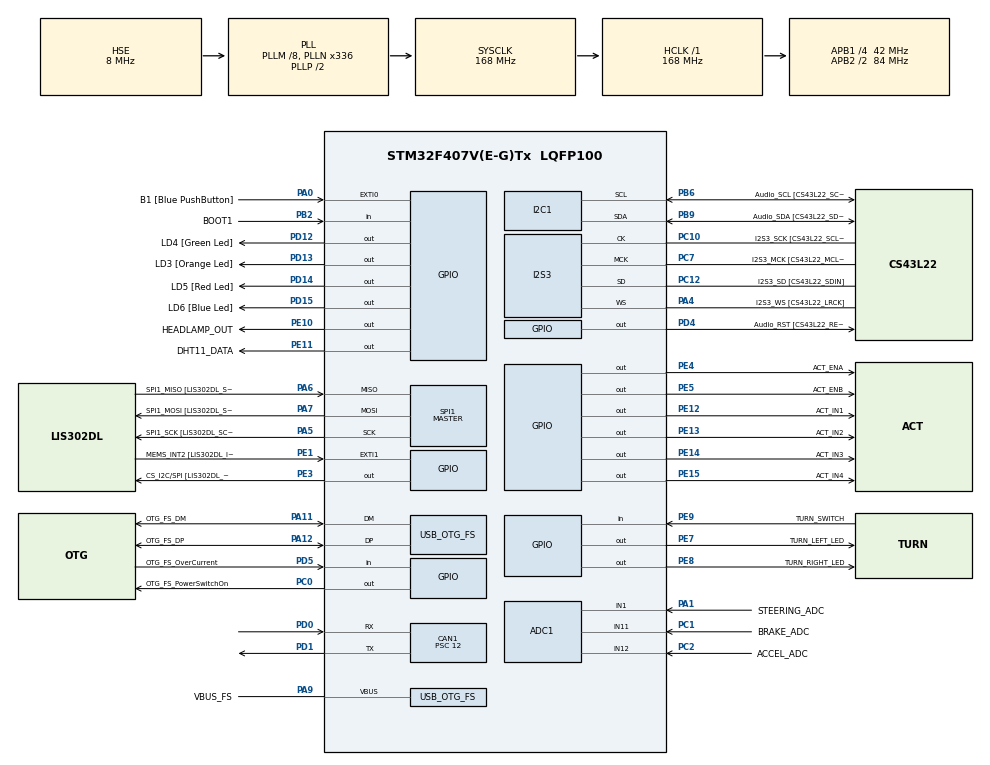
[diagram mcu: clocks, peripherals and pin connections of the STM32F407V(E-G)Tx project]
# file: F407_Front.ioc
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ADC1.Channel-0\#ChannelRegularConversion=ADC_CHANNEL_1
ADC1.Channel-1\#ChannelRegularConversion=ADC_CHANNEL_11
ADC1.Channel-2\#ChannelRegularConversion=ADC_CHANNEL_12
ADC1.ContinuousConvMode=ENABLE
ADC1.DMAContinuousRequests=ENABLE
ADC1.NbrOfConversion=3
ADC1.NbrOfConversionFlag=1
ADC1.Rank-0\#ChannelRegularConversion=1
ADC1.Rank-1\#ChannelRegularConversion=2
ADC1.Rank-2\#ChannelRegularConversion=3
ADC1.SamplingTime-0\#ChannelRegularConversion=ADC_SAMPLETIME_84CYCLES
ADC1.SamplingTime-1\#ChannelRegularConversion=ADC_SAMPLETIME_84CYCLES
ADC1.SamplingTime-2\#ChannelRegularConversion=ADC_SAMPLETIME_84CYCLES
ADC1.ScanConvMode=ENABLE
ADC1.master=1
CAN1.ABOM=ENABLE
CAN1.BS1=CAN_BS1_11TQ
CAN1.BS2=CAN_BS2_2TQ
CAN1.CalculateBaudRate=250000
CAN1.CalculateTimeBit=4000
CAN1.CalculateTimeQuantum=285.7142857142857
CAN1.NART=ENABLE
CAN1.Prescaler=12
Dma.ADC1.0.Direction=DMA_PERIPH_TO_MEMORY
Dma.ADC1.0.FIFOMode=DMA_FIFOMODE_DISABLE
Dma.ADC1.0.Instance=DMA2_Stream0
Dma.ADC1.0.MemDataAlignment=DMA_MDATAALIGN_HALFWORD
Dma.ADC1.0.MemInc=DMA_MINC_ENABLE
Dma.ADC1.0.Mode=DMA_CIRCULAR
Dma.ADC1.0.PeriphDataAlignment=DMA_PDATAALIGN_HALFWORD
Dma.ADC1.0.PeriphInc=DMA_PINC_DISABLE
Dma.ADC1.0.Priority=DMA_PRIORITY_MEDIUM
Dma.Request0=ADC1
I2S3.AudioFreq-Half_Duplex_Master=I2S_AUDIOFREQ_96K
I2S3.ErrorAudioFreq=-2.34 %
I2S3.ErrorAudioFreq-Half_Duplex_Master=0.8 %
I2S3.FullDuplexMode=I2S_FULLDUPLEXMODE_DISABLE
I2S3.Instance=SPI$Index
I2S3.RealAudioFreq=93.75 KHz
I2S3.RealAudioFreq-Half_Duplex_Master=96.774 KHz
I2S3.VirtualMode=I2S_MODE_MASTER
Mcu.Family=STM32F4
Mcu.Name=STM32F407V(E-G)Tx
Mcu.Package=LQFP100
NVIC.CAN1_RX0_IRQn=true\:0\:0\:false\:false\:true\:true\:true\:true
NVIC.CAN1_SCE_IRQn=true\:0\:0\:false\:false\:true\:true\:true\:true
NVIC.DMA2_Stream0_IRQn=true\:0\:0\:false\:false\:true\:false\:true\:true
NVIC.OTG_FS_IRQn=true\:0\:0\:false\:false\:true\:true\:true\:true
NVIC.PriorityGroup=NVIC_PRIORITYGROUP_0
NVIC.TIM6_DAC_IRQn=true\:0\:0\:false\:false\:true\:true\:true\:true
PA0-WKUP.GPIO_Label=B1 [Blue PushButton]
PA0-WKUP.GPIO_ModeDefaultEXTI=GPIO_MODE_EVT_RISING
PA0-WKUP.GPIO_PuPd=GPIO_NOPULL
PA0-WKUP.Signal=GPXTI0
PA1.GPIO_Label=STEERING_ADC
PA1.Signal=ADCx_IN1
PA10.GPIO_Label=OTG_FS_ID
PA10.GPIO_Mode=GPIO_MODE_AF_PP
PA10.GPIO_PuPd=GPIO_NOPULL
PA10.GPIO_Speed=GPIO_SPEED_FREQ_LOW
PA10.Signal=USB_OTG_FS_ID
PA11.GPIO_Label=OTG_FS_DM
PA11.GPIO_Mode=GPIO_MODE_AF_PP
PA11.GPIO_PuPd=GPIO_NOPULL
PA11.GPIO_Speed=GPIO_SPEED_FREQ_LOW
PA11.Mode=Host_Only
PA11.Signal=USB_OTG_FS_DM
PA12.GPIO_Label=OTG_FS_DP
PA12.GPIO_Mode=GPIO_MODE_AF_PP
PA12.GPIO_PuPd=GPIO_NOPULL
PA12.GPIO_Speed=GPIO_SPEED_FREQ_LOW
PA12.Mode=Host_Only
PA12.Signal=USB_OTG_FS_DP
PA13.GPIO_Label=SWDIO
PA13.Mode=Serial_Wire
PA13.Signal=SYS_JTMS-SWDIO
PA14.GPIO_Label=SWCLK
PA14.Mode=Serial_Wire
PA14.Signal=SYS_JTCK-SWCLK
PA4.GPIO_Label=I2S3_WS [CS43L22_LRCK]
PA4.GPIO_Mode=GPIO_MODE_AF_PP
PA4.GPIO_PuPd=GPIO_NOPULL
PA4.GPIO_Speed=GPIO_SPEED_FREQ_LOW
PA4.Mode=Half_Duplex_Master
PA4.Signal=I2S3_WS
PA5.GPIO_Label=SPI1_SCK [LIS302DL_SCL/SPC]
PA5.GPIO_Mode=GPIO_MODE_AF_PP
PA5.GPIO_PuPd=GPIO_NOPULL
PA5.GPIO_Speed=GPIO_SPEED_FREQ_LOW
PA5.Mode=Full_Duplex_Master
PA5.Signal=SPI1_SCK
PA6.GPIO_Label=SPI1_MISO [LIS302DL_SDO]
PA6.GPIO_Mode=GPIO_MODE_AF_PP
PA6.GPIO_PuPd=GPIO_NOPULL
PA6.GPIO_Speed=GPIO_SPEED_FREQ_LOW
PA6.Mode=Full_Duplex_Master
PA6.Signal=SPI1_MISO
PA7.GPIO_Label=SPI1_MOSI [LIS302DL_SDA/SDI/SDO]
PA7.GPIO_Mode=GPIO_MODE_AF_PP
PA7.GPIO_PuPd=GPIO_NOPULL
PA7.GPIO_Speed=GPIO_SPEED_FREQ_LOW
PA7.Mode=Full_Duplex_Master
PA7.Signal=SPI1_MOSI
PA9.GPIO_Label=VBUS_FS
PA9.GPIO_Mode=GPIO_MODE_INPUT
PA9.GPIO_PuPd=GPIO_NOPULL
PA9.Mode=Activate_VBUS
PA9.Signal=USB_OTG_FS_VBUS
PB10.GPIO_Label=CLK_IN [MP45DT02_CLK]
PB10.GPIO_Mode=GPIO_MODE_AF_PP
PB10.GPIO_PuPd=GPIO_NOPULL
PB10.GPIO_Speed=GPIO_SPEED_FREQ_LOW
PB10.Signal=I2S2_CK
PB2.GPIO_Label=BOOT1
PB2.GPIO_Mode=GPIO_MODE_INPUT
PB2.GPIO_PuPd=GPIO_NOPULL
PB2.Signal=GPIO_Input
PB3.GPIO_Label=SWO
PB3.Signal=SYS_JTDO-SWO
PB6.GPIO_Label=Audio_SCL [CS43L22_SCL]
PB6.GPIO_Mode=GPIO_MODE_AF_OD
PB6.GPIO_Pu=GPIO_PULLUP
PB6.GPIO_PuPd=GPIO_NOPULL
PB6.GPIO_Speed=GPIO_SPEED_FREQ_LOW
PB6.Mode=I2C
PB6.Signal=I2C1_SCL
PB9.GPIO_Label=Audio_SDA [CS43L22_SDA]
PB9.GPIO_Mode=GPIO_MODE_AF_OD
PB9.GPIO_Pu=GPIO_PULLUP
PB9.GPIO_PuPd=GPIO_NOPULL
PB9.GPIO_Speed=GPIO_SPEED_FREQ_LOW
PB9.Mode=I2C
PB9.Signal=I2C1_SDA
PC0.GPIO_Label=OTG_FS_PowerSwitchOn
PC0.GPIO_PuPd=GPIO_NOPULL
PC0.GPIO_Speed=GPIO_SPEED_FREQ_LOW
PC0.PinState=GPIO_PIN_SET
PC0.Signal=GPIO_Output
PC1.GPIO_Label=BRAKE_ADC
PC1.Signal=ADCx_IN11
PC10.GPIO_Label=I2S3_SCK [CS43L22_SCLK]
PC10.GPIO_Mode=GPIO_MODE_AF_PP
PC10.GPIO_PuPd=GPIO_NOPULL
PC10.GPIO_Speed=GPIO_SPEED_FREQ_LOW
PC10.Mode=Half_Duplex_Master
PC10.Signal=I2S3_CK
PC12.GPIO_Label=I2S3_SD [CS43L22_SDIN]
PC12.GPIO_Mode=GPIO_MODE_AF_PP
PC12.GPIO_PuPd=GPIO_NOPULL
PC12.GPIO_Speed=GPIO_SPEED_FREQ_LOW
PC12.Mode=Half_Duplex_Master
PC12.Signal=I2S3_SD
PC14-OSC32_IN.GPIO_Label=PC14-OSC32_IN
PC14-OSC32_IN.Mode=LSE-External-Oscillator
PC14-OSC32_IN.Signal=RCC_OSC32_IN
PC15-OSC32_OUT.GPIO_Label=PC15-OSC32_OUT
PC15-OSC32_OUT.Mode=LSE-External-Oscillator
PC15-OSC32_OUT.Signal=RCC_OSC32_OUT
PC2.GPIO_Label=ACCEL_ADC
PC2.Signal=ADCx_IN12
PC3.GPIO_Label=PDM_OUT [MP45DT02_DOUT]
PC3.GPIO_Mode=GPIO_MODE_AF_PP
PC3.GPIO_PuPd=GPIO_NOPULL
PC3.GPIO_Speed=GPIO_SPEED_FREQ_LOW
PC3.Signal=I2S2_SD
PC7.GPIO_Label=I2S3_MCK [CS43L22_MCLK]
PC7.GPIO_Mode=GPIO_MODE_AF_PP
PC7.GPIO_PuPd=GPIO_NOPULL
PC7.GPIO_Speed=GPIO_SPEED_FREQ_LOW
PC7.Mode=Master_Clock_Activated
PC7.Signal=I2S3_MCK
PD0.Mode=CAN_Activate
PD0.Signal=CAN1_RX
PD1.Mode=CAN_Activate
PD1.Signal=CAN1_TX
PD12.GPIO_Label=LD4 [Green Led]
PD12.GPIO_PuPd=GPIO_NOPULL
PD12.GPIO_Speed=GPIO_SPEED_FREQ_LOW
PD12.Signal=GPIO_Output
PD13.GPIO_Label=LD3 [Orange Led]
PD13.GPIO_PuPd=GPIO_NOPULL
PD13.GPIO_Speed=GPIO_SPEED_FREQ_LOW
PD13.Signal=GPIO_Output
PD14.GPIO_Label=LD5 [Red Led]
PD14.GPIO_PuPd=GPIO_NOPULL
PD14.GPIO_Speed=GPIO_SPEED_FREQ_LOW
PD14.Signal=GPIO_Output
PD15.GPIO_Label=LD6 [Blue Led]
PD15.GPIO_PuPd=GPIO_NOPULL
PD15.GPIO_Speed=GPIO_SPEED_FREQ_LOW
PD15.Signal=GPIO_Output
PD4.GPIO_Label=Audio_RST [CS43L22_RESET]
PD4.GPIO_PuPd=GPIO_NOPULL
PD4.GPIO_Speed=GPIO_SPEED_FREQ_LOW
PD4.Signal=GPIO_Output
PD5.GPIO_Label=OTG_FS_OverCurrent
PD5.GPIO_Mode=GPIO_MODE_INPUT
PD5.GPIO_PuPd=GPIO_NOPULL
PD5.Signal=GPIO_Input
PE1.GPIO_Label=MEMS_INT2 [LIS302DL_INT2]
PE1.GPIO_ModeDefaultEXTI=GPIO_MODE_EVT_RISING
PE1.GPIO_PuPd=GPIO_NOPULL
PE1.Signal=GPXTI1
PE10.GPIO_Label=HEADLAMP_OUT
PE10.GPIO_PuPd=GPIO_NOPULL
PE10.Signal=GPIO_Output
PE11.GPIO_Label=DHT11_DATA
PE11.GPIO_ModeDefaultOutputPP=GPIO_MODE_OUTPUT_OD
PE11.GPIO_PuPd=GPIO_NOPULL
PE11.PinState=GPIO_PIN_SET
PE11.Signal=GPIO_Output
PE12.GPIO_Label=ACT_IN1
PE12.GPIO_PuPd=GPIO_NOPULL
PE12.Signal=GPIO_Output
PE13.GPIO_Label=ACT_IN2
PE13.GPIO_PuPd=GPIO_NOPULL
PE13.Signal=GPIO_Output
PE14.GPIO_Label=ACT_IN3
PE14.GPIO_PuPd=GPIO_NOPULL
PE14.Signal=GPIO_Output
PE15.GPIO_Label=ACT_IN4
PE15.GPIO_PuPd=GPIO_NOPULL
PE15.Signal=GPIO_Output
PE3.GPIO_Label=CS_I2C/SPI [LIS302DL_CS_I2C/SPI]
PE3.GPIO_PuPd=GPIO_NOPULL
PE3.GPIO_Speed=GPIO_SPEED_FREQ_LOW
PE3.Signal=GPIO_Output
PE4.GPIO_Label=ACT_ENA
PE4.GPIO_PuPd=GPIO_NOPULL
PE4.Signal=GPIO_Output
PE5.GPIO_Label=ACT_ENB
PE5.GPIO_PuPd=GPIO_NOPULL
PE5.Signal=GPIO_Output
PE7.GPIO_Label=TURN_LEFT_LED
PE7.Signal=GPIO_Output
PE8.GPIO_Label=TURN_RIGHT_LED
PE8.Signal=GPIO_Output
PE9.GPIO_Label=TURN_SWITCH
PE9.GPIO_PuPd=GPIO_PULLUP
PE9.Signal=GPIO_Input
PH0-OSC_IN.GPIO_Label=PH0-OSC_IN
PH0-OSC_IN.Mode=HSE-External-Oscillator
PH0-OSC_IN.Signal=RCC_OSC_IN
PH1-OSC_OUT.GPIO_Label=PH1-OSC_OUT
PH1-OSC_OUT.Mode=HSE-External-Oscillator
PH1-OSC_OUT.Signal=RCC_OSC_OUT
ProjectManager.HeapSize=0x200
ProjectManager.StackSize=0x400
ProjectManager.TargetToolchain=STM32CubeIDE
RCC.48MHZClocksFreq_Value=48000000
RCC.AHBFreq_Value=168000000
RCC.APB1CLKDivider=RCC_HCLK_DIV4
RCC.APB1Freq_Value=42000000
RCC.APB1TimFreq_Value=84000000
RCC.APB2CLKDivider=RCC_HCLK_DIV2
RCC.APB2Freq_Value=84000000
RCC.APB2TimFreq_Value=168000000
RCC.CortexFreq_Value=168000000
RCC.HCLKFreq_Value=168000000
RCC.HSE_VALUE=8000000
RCC.HSI_VALUE=16000000
RCC.PLLM=8
RCC.PLLN=336
RCC.PLLQ=7
RCC.SYSCLKFreq_VALUE=168000000
RCC.SYSCLKSource=RCC_SYSCLKSOURCE_PLLCLK
RCC.VCOOutputFreq_Value=336000000
SH.ADCx_IN1.0=ADC1_IN1,IN1
SH.ADCx_IN11.0=ADC1_IN11,IN11
SH.ADCx_IN12.0=ADC1_IN12,IN12
SPI1.BaudRatePrescaler-Full_Duplex_Master=SPI_BAUDRATEPRESCALER_2
SPI1.CalculateBaudRate-Full_Duplex_Master=42.0 MBits/s
SPI1.Direction=SPI_DIRECTION_2LINES
SPI1.Mode=SPI_MODE_MASTER
SPI1.Mode-Full_Duplex_Master=SPI_MODE_MASTER
SPI1.VirtualType=VM_MASTER
TIM6.Period=19
TIM6.Prescaler=8399
USB_HOST.BSP.number=1
USB_HOST.USBH_HandleTypeDef-CDC_FS=hUsbHostFS
USB_HOST.VirtualModeFS=Cdc
USB_HOST0.BSP.STBoard=false
USB_HOST0.BSP.api=Unknown
USB_HOST0.BSP.instance=PC0
USB_HOST0.BSP.ip=GPIO
USB_HOST0.BSP.mode=Output
USB_HOST0.BSP.name=Drive_VBUS_FS
USB_HOST0.BSP.solution=PC0
USB_OTG_FS.VirtualMode=Host_Only
USB_OTG_FS.phy_itface=HCD_PHY_EMBEDDED
VP_TIM6_VS_ClockSourceINT.Mode=Enable_Timer
VP_USB_HOST_VS_USB_HOST_CDC_FS.Mode=CDC_FS
board=STM32F407G-DISC1

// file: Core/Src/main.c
/* USER CODE BEGIN Header */
/**
  ******************************************************************************
  * @file           : main.c
  * @brief          : Front lower node integrated application
  ******************************************************************************
  * @attention
  *
  * Copyright (c) 2026 STMicroelectronics.
  * All rights reserved.
  *
  * This software is licensed under terms that can be found in the LICENSE file
  * in the root directory of this software component.
  * If no LICENSE file comes with this software, it is provided AS-IS.
  *
  ******************************************************************************
  */
/* USER CODE END Header */
#include "main.h"
#include "adc.h"
#include "can.h"
#include "dma.h"
#include "i2c.h"
#include "i2s.h"
#include "spi.h"
#include "tim.h"
#include "usb_host.h"
#include "gpio.h"

/* USER CODE BEGIN PTD */
typedef struct
{
  GPIO_TypeDef *port;
  uint16_t pin;
  uint8_t raw_active;
  uint8_t stable_active;
  uint32_t last_change_tick;
} DebouncedInput_t;
/* USER CODE END PTD */

/* USER CODE BEGIN PD */
#define ADC_VALUE_COUNT                 3U
#define ADC_INDEX_STEERING              0U
#define ADC_INDEX_BRAKE                 1U
#define ADC_INDEX_ACCEL                 2U
#define ADC_FULL_SCALE                  4095U

#define CONTROL_UPDATE_PERIOD_MS        10U
#define SWITCH_DEBOUNCE_MS              20U

#define ACTUATOR_MAX_STEP               4095
#define ACTUATOR_DEADBAND_STEP          2
#define ACTUATOR_STEP_SEQUENCE_COUNT    8

#define CAN_ID_H723_PING                         0x201U
#define CAN_ID_F407_ECHO                         0x281U

/* F407 -> H723: one signal per Standard CAN ID */
#define CAN_ID_F407_STEERING_ADC                 0x210U
#define CAN_ID_F407_BRAKE_ADC                    0x211U
#define CAN_ID_F407_ACCEL_ADC                    0x212U
#define CAN_ID_F407_TURN_LEFT_OUTPUT             0x213U
#define CAN_ID_F407_TURN_RIGHT_OUTPUT            0x214U
#define CAN_ID_F407_TURN_SWITCH_PRESSED          0x215U
#define CAN_ID_F407_HEADLAMP_OUTPUT              0x216U
#define CAN_ID_F407_TEMPERATURE_X10              0x217U
#define CAN_ID_F407_HUMIDITY_X10                 0x218U
#define CAN_ID_F407_DHT11_VALID                  0x219U
#define CAN_ID_F407_ACTUATOR_POSITION            0x21AU
#define CAN_ID_F407_ACTUATOR_ENABLE              0x21BU
#define CAN_ID_F407_STEERING_OVERRIDE_ACTIVE     0x21CU
#define CAN_ID_F407_HEADLAMP_OVERRIDE_ACTIVE     0x21DU
#define CAN_ID_F407_CAN_BUSOFF                    0x21EU

/* H723 -> F407: one command per Standard CAN ID */
#define CAN_ID_H723_STEERING_OVERRIDE            0x310U
#define CAN_ID_H723_ACTUATOR_ENABLE              0x311U
#define CAN_ID_H723_ACTUATOR_TARGET              0x312U
#define CAN_ID_H723_HEADLAMP_OVERRIDE            0x313U
#define CAN_ID_H723_HEADLAMP_COMMAND             0x314U
#define CAN_ID_H723_TURN_OVERRIDE                0x315U
#define CAN_ID_H723_TURN_MODE                    0x316U

#define CAN_PERIOD_ADC_MS                         20U
#define CAN_PERIOD_ACTUATOR_POSITION_MS           20U
#define CAN_PERIOD_DIGITAL_STATUS_MS              50U
#define CAN_PERIOD_CAN_DIAGNOSTIC_SIGNAL_MS      100U
#define CAN_PERIOD_ENVIRONMENT_MS               1000U
#define CAN_DIAGNOSTIC_PERIOD_MS                 100U
#define CAN_COMMAND_TIMEOUT_MS                   500U

#define DHT11_READ_PERIOD_MS            2000U
#define DHT11_START_LOW_MS              18U
#define DHT11_TIMEOUT_US                120U
/* USER CODE END PD */

/* USER CODE BEGIN PM */
#define LIMIT_U16(value, maximum) \
  ((uint16_t)(((value) > (maximum)) ? (maximum) : (value)))
/* USER CODE END PM */

/* USER CODE BEGIN PV */
/* ADC1 DMA 순서: PA1 Steering, PC1 Brake, PC2 Accel */
volatile uint16_t adc_dma_values[ADC_VALUE_COUNT] = {0U, 0U, 0U};
volatile uint16_t steering_adc_raw = 0U;
volatile uint16_t steering_adc_filtered = 0U;
volatile uint16_t brake_adc_raw = 0U;
volatile uint16_t accel_adc_raw = 0U;
volatile uint32_t adc_dma_error_count = 0U;
static int32_t steering_filter_accumulator = 0;
static uint8_t steering_filter_initialized = 0U;

/*
 * PE9 active-low push button cycles the turn lamps:
 * 0: both OFF -> 1: PE7 left ON -> 2: PE8 right ON -> 0: both OFF.
 */
volatile uint8_t turn_switch_pressed = 0U;
volatile uint8_t turn_mode = 0U;          /* applied mode */
volatile uint8_t turn_mode_local = 0U;
volatile uint8_t can_turn_override_enable = 0U;
volatile uint8_t can_turn_mode_command = 0U;
volatile uint8_t turn_override_active = 0U;
volatile uint8_t turn_left_output_state = 0U;
volatile uint8_t turn_right_output_state = 0U;
volatile uint8_t headlamp_output_state = 0U;

static uint8_t turn_switch_previous_pressed = 0U;
static DebouncedInput_t turn_switch_input = {
  TURN_SWITCH_GPIO_Port, TURN_SWITCH_Pin, 0U, 0U, 0U
};

/* 28BYJ/4-input half-step actuator control */
static const uint8_t actuator_step_sequence[ACTUATOR_STEP_SEQUENCE_COUNT][4] = {
  {1U, 0U, 0U, 0U},
  {1U, 1U, 0U, 0U},
  {0U, 1U, 0U, 0U},
  {0U, 1U, 1U, 0U},
  {0U, 0U, 1U, 0U},
  {0U, 0U, 1U, 1U},
  {0U, 0U, 0U, 1U},
  {1U, 0U, 0U, 1U}
};

volatile int32_t actuator_absolute_position = 0;
volatile int32_t actuator_target_position = 0;
volatile int32_t actuator_local_target_position = 0;
volatile uint8_t actuator_step_index = 0U;
volatile uint8_t actuator_local_enable = 1U;
volatile uint8_t actuator_output_enable = 0U;
volatile uint32_t actuator_step_count = 0U;
volatile uint32_t actuator_limit_count = 0U;

/* DHT11 diagnostics and values are stored in 0.1 units. */
volatile int16_t dht11_temperature_x10 = 0;
volatile uint16_t dht11_humidity_x10 = 0U;
volatile uint8_t dht11_valid = 0U;
volatile uint8_t dht11_last_checksum = 0U;
volatile uint32_t dht11_ok_count = 0U;
volatile uint32_t dht11_error_count = 0U;

/* CAN diagnostics */
volatile uint8_t can_started = 0U;
volatile uint32_t can_start_error_step = 0U;
volatile uint32_t can_rx_count = 0U;
volatile uint32_t can_ping_rx_count = 0U;
volatile uint32_t can_echo_tx_count = 0U;
volatile uint32_t can_command_rx_count = 0U;
volatile uint32_t can_unknown_rx_count = 0U;
volatile uint32_t can_tx_busy_count = 0U;
volatile uint32_t can_tx_error_count = 0U;
volatile uint32_t can_error_callback_count = 0U;
volatile uint32_t can_busoff_count = 0U;
volatile uint32_t can_last_error = 0U;
volatile uint32_t can_last_rx_id = 0U;
volatile uint8_t can_last_rx_dlc = 0U;
volatile uint8_t can_last_rx_data[8] = {0U};
volatile uint32_t can_tx_mailbox_free = 0U;
volatile uint32_t can_esr_register = 0U;
volatile uint8_t can_tx_error_counter = 0U;
volatile uint8_t can_rx_error_counter = 0U;
volatile uint8_t can_last_error_code = 0U;
volatile uint8_t can_busoff_state = 0U;

/* Per-signal F407 -> H723 transmit counters */
volatile uint32_t can_steering_tx_count = 0U;
volatile uint32_t can_brake_tx_count = 0U;
volatile uint32_t can_accel_tx_count = 0U;
volatile uint32_t can_turn_left_tx_count = 0U;
volatile uint32_t can_turn_right_tx_count = 0U;
volatile uint32_t can_turn_switch_tx_count = 0U;
volatile uint32_t can_headlamp_output_tx_count = 0U;
volatile uint32_t can_temperature_tx_count = 0U;
volatile uint32_t can_humidity_tx_count = 0U;
volatile uint32_t can_dht11_valid_tx_count = 0U;
volatile uint32_t can_actuator_position_tx_count = 0U;
volatile uint32_t can_actuator_enable_tx_count = 0U;
volatile uint32_t can_steering_override_tx_count = 0U;
volatile uint32_t can_headlamp_override_tx_count = 0U;
volatile uint32_t can_busoff_signal_tx_count = 0U;

/* Per-command H723 -> F407 receive counters */
volatile uint32_t can_steering_override_rx_count = 0U;
volatile uint32_t can_actuator_enable_rx_count = 0U;
volatile uint32_t can_actuator_target_rx_count = 0U;
volatile uint32_t can_headlamp_override_rx_count = 0U;
volatile uint32_t can_headlamp_command_rx_count = 0U;
volatile uint32_t can_turn_override_rx_count = 0U;
volatile uint32_t can_turn_mode_rx_count = 0U;

/* H723 ping echo is queued in the RX callback and transmitted in main context. */
volatile uint8_t can_echo_pending = 0U;
static uint8_t can_echo_data[8] = {0U};

/* Split command state and individual freshness timestamps */
volatile uint8_t can_steering_override_enable = 0U;
volatile uint8_t can_actuator_enable_command = 0U;
volatile uint8_t can_headlamp_override_enable = 0U;
volatile uint8_t can_headlamp_command = 0U;
volatile uint16_t can_actuator_target_command = 0U;
volatile uint32_t can_steering_override_last_tick = 0U;
volatile uint32_t can_actuator_enable_last_tick = 0U;
volatile uint32_t can_actuator_target_last_tick = 0U;
volatile uint32_t can_headlamp_override_last_tick = 0U;
volatile uint32_t can_headlamp_command_last_tick = 0U;
volatile uint32_t can_turn_override_last_tick = 0U;
volatile uint32_t can_turn_mode_last_tick = 0U;

/* Per-signal scheduler state. At most one status frame is queued per main-loop pass. */
static uint8_t can_signal_scheduler_index = 0U;
static uint32_t can_steering_last_tx_tick = 0U;
static uint32_t can_brake_last_tx_tick = 0U;
static uint32_t can_accel_last_tx_tick = 0U;
static uint32_t can_turn_left_last_tx_tick = 0U;
static uint32_t can_turn_right_last_tx_tick = 0U;
static uint32_t can_turn_switch_last_tx_tick = 0U;
static uint32_t can_headlamp_output_last_tx_tick = 0U;
static uint32_t can_temperature_last_tx_tick = 0U;
static uint32_t can_humidity_last_tx_tick = 0U;
static uint32_t can_dht11_valid_last_tx_tick = 0U;
static uint32_t can_actuator_position_last_tx_tick = 0U;
static uint32_t can_actuator_enable_last_tx_tick = 0U;
static uint32_t can_steering_override_last_tx_tick = 0U;
static uint32_t can_headlamp_override_last_tx_tick = 0U;
static uint32_t can_busoff_signal_last_tx_tick = 0U;
/* USER CODE END PV */

void SystemClock_Config(void);
void MX_USB_HOST_Process(void);

/* USER CODE BEGIN PFP */
static void DWT_DelayInit(void);
static void DWT_DelayUs(uint32_t delay_us);
static uint32_t DWT_ElapsedUs(uint32_t start_cycle);

static void Switch_Init(DebouncedInput_t *input, uint32_t now);
static void Switch_Update(DebouncedInput_t *input, uint32_t now);
static void Application_UpdateInputsAndOutputs(uint32_t now);

static void Actuator_WriteStep(uint8_t index);
static void Actuator_SetEnabled(uint8_t enable);
static void Actuator_AllOutputsLow(void);

static void DHT11_SetPinOutput(void);
static void DHT11_SetPinInput(void);
static uint8_t DHT11_WaitWhile(GPIO_PinState state, uint32_t timeout_us);
static uint8_t DHT11_ReadSensor(void);

static void CAN1_ApplicationStart(void);
static HAL_StatusTypeDef CAN1_SendStandard(uint32_t identifier,
                                           const uint8_t data[8],
                                           uint8_t dlc);
static void CAN1_SendPendingEcho(void);
static HAL_StatusTypeDef CAN1_SendU8Signal(uint32_t identifier, uint8_t value);
static HAL_StatusTypeDef CAN1_SendU16Signal(uint32_t identifier, uint16_t value);
static HAL_StatusTypeDef CAN1_SendI16Signal(uint32_t identifier, int16_t value);
static void CAN1_SignalSchedulerInit(uint32_t now);
static void CAN1_SendNextSignal(uint32_t now);
static void CAN1_UpdateDiagnostics(void);
/* USER CODE END PFP */

/* USER CODE BEGIN 0 */
static void DWT_DelayInit(void)
{
  CoreDebug->DEMCR |= CoreDebug_DEMCR_TRCENA_Msk;
  DWT->CYCCNT = 0U;
  DWT->CTRL |= DWT_CTRL_CYCCNTENA_Msk;
}

static void DWT_DelayUs(uint32_t delay_us)
{
  uint32_t start_cycle = DWT->CYCCNT;
  uint32_t cycles_per_us = SystemCoreClock / 1000000U;
  uint32_t wait_cycles = delay_us * cycles_per_us;

  while ((uint32_t)(DWT->CYCCNT - start_cycle) < wait_cycles)
  {
  }
}

static uint32_t DWT_ElapsedUs(uint32_t start_cycle)
{
  uint32_t cycles_per_us = SystemCoreClock / 1000000U;
  if (cycles_per_us == 0U)
  {
    return 0U;
  }

  return (uint32_t)(DWT->CYCCNT - start_cycle) / cycles_per_us;
}

static void Switch_Init(DebouncedInput_t *input, uint32_t now)
{
  uint8_t active;

  active = (HAL_GPIO_ReadPin(input->port, input->pin) == GPIO_PIN_RESET) ? 1U : 0U;
  input->raw_active = active;
  input->stable_active = active;
  input->last_change_tick = now;
}

static void Switch_Update(DebouncedInput_t *input, uint32_t now)
{
  uint8_t active;

  active = (HAL_GPIO_ReadPin(input->port, input->pin) == GPIO_PIN_RESET) ? 1U : 0U;

  if (active != input->raw_active)
  {
    input->raw_active = active;
    input->last_change_tick = now;
  }

  if ((uint32_t)(now - input->last_change_tick) >= SWITCH_DEBOUNCE_MS)
  {
    input->stable_active = input->raw_active;
  }
}

static void Actuator_AllOutputsLow(void)
{
  HAL_GPIO_WritePin(ACT_IN1_GPIO_Port, ACT_IN1_Pin, GPIO_PIN_RESET);
  HAL_GPIO_WritePin(ACT_IN2_GPIO_Port, ACT_IN2_Pin, GPIO_PIN_RESET);
  HAL_GPIO_WritePin(ACT_IN3_GPIO_Port, ACT_IN3_Pin, GPIO_PIN_RESET);
  HAL_GPIO_WritePin(ACT_IN4_GPIO_Port, ACT_IN4_Pin, GPIO_PIN_RESET);
}

static void Actuator_SetEnabled(uint8_t enable)
{
  actuator_output_enable = (enable != 0U) ? 1U : 0U;

  if (actuator_output_enable != 0U)
  {
    /* Existing F401 hardware used active-high ENA/ENB. */
    HAL_GPIO_WritePin(ACT_ENA_GPIO_Port, ACT_ENA_Pin, GPIO_PIN_SET);
    HAL_GPIO_WritePin(ACT_ENB_GPIO_Port, ACT_ENB_Pin, GPIO_PIN_SET);
  }
  else
  {
    HAL_GPIO_WritePin(ACT_ENA_GPIO_Port, ACT_ENA_Pin, GPIO_PIN_RESET);
    HAL_GPIO_WritePin(ACT_ENB_GPIO_Port, ACT_ENB_Pin, GPIO_PIN_RESET);
    Actuator_AllOutputsLow();
  }
}

static void Actuator_WriteStep(uint8_t index)
{
  uint8_t safe_index = (uint8_t)(index % ACTUATOR_STEP_SEQUENCE_COUNT);

  HAL_GPIO_WritePin(ACT_IN1_GPIO_Port,
                    ACT_IN1_Pin,
                    actuator_step_sequence[safe_index][0] ? GPIO_PIN_SET : GPIO_PIN_RESET);
  HAL_GPIO_WritePin(ACT_IN2_GPIO_Port,
                    ACT_IN2_Pin,
                    actuator_step_sequence[safe_index][1] ? GPIO_PIN_SET : GPIO_PIN_RESET);
  HAL_GPIO_WritePin(ACT_IN3_GPIO_Port,
                    ACT_IN3_Pin,
                    actuator_step_sequence[safe_index][2] ? GPIO_PIN_SET : GPIO_PIN_RESET);
  HAL_GPIO_WritePin(ACT_IN4_GPIO_Port,
                    ACT_IN4_Pin,
                    actuator_step_sequence[safe_index][3] ? GPIO_PIN_SET : GPIO_PIN_RESET);
}

static void Application_UpdateInputsAndOutputs(uint32_t now)
{
  uint16_t steering_sample;
  int32_t target;
  uint8_t command_is_fresh;
  uint8_t requested_actuator_enable;
  uint8_t requested_headlamp_state;

  steering_adc_raw = adc_dma_values[ADC_INDEX_STEERING];
  brake_adc_raw = adc_dma_values[ADC_INDEX_BRAKE];
  accel_adc_raw = adc_dma_values[ADC_INDEX_ACCEL];

  steering_sample = LIMIT_U16(steering_adc_raw, ADC_FULL_SCALE);

  if (steering_filter_initialized == 0U)
  {
    steering_filter_accumulator = ((int32_t)steering_sample << 4);
    steering_filter_initialized = 1U;
  }
  else
  {
    /* First-order low-pass filter. */
    steering_filter_accumulator +=
      ((((int32_t)steering_sample << 4) - steering_filter_accumulator) / 8);
  }

  steering_adc_filtered = (uint16_t)(steering_filter_accumulator >> 4);
  target = ((int32_t)steering_adc_filtered * ACTUATOR_MAX_STEP) / (int32_t)ADC_FULL_SCALE;
  actuator_local_target_position = target;

  Switch_Update(&turn_switch_input, now);
  turn_switch_pressed = turn_switch_input.stable_active;

  /* Local button advances only once on each debounced press edge. */
  if ((turn_switch_pressed != 0U) &&
      (turn_switch_previous_pressed == 0U))
  {
    turn_mode_local++;
    if (turn_mode_local >= 3U)
    {
      turn_mode_local = 0U;
    }
  }
  turn_switch_previous_pressed = turn_switch_pressed;

  command_is_fresh =
    (((uint32_t)(now - can_turn_override_last_tick) <= CAN_COMMAND_TIMEOUT_MS) &&
     ((uint32_t)(now - can_turn_mode_last_tick) <= CAN_COMMAND_TIMEOUT_MS)) ? 1U : 0U;

  if (command_is_fresh == 0U)
  {
    can_turn_override_enable = 0U;
  }

  if ((command_is_fresh != 0U) && (can_turn_override_enable != 0U))
  {
    turn_mode = (can_turn_mode_command <= 2U) ? can_turn_mode_command : 0U;
    turn_override_active = 1U;
  }
  else
  {
    turn_mode = turn_mode_local;
    turn_override_active = 0U;
  }

  if (turn_mode == 1U)
  {
    turn_left_output_state = 1U;
    turn_right_output_state = 0U;
  }
  else if (turn_mode == 2U)
  {
    turn_left_output_state = 0U;
    turn_right_output_state = 1U;
  }
  else
  {
    turn_left_output_state = 0U;
    turn_right_output_state = 0U;
  }

  HAL_GPIO_WritePin(TURN_LEFT_LED_GPIO_Port,
                    TURN_LEFT_LED_Pin,
                    turn_left_output_state ? GPIO_PIN_SET : GPIO_PIN_RESET);
  HAL_GPIO_WritePin(TURN_RIGHT_LED_GPIO_Port,
                    TURN_RIGHT_LED_Pin,
                    turn_right_output_state ? GPIO_PIN_SET : GPIO_PIN_RESET);

  command_is_fresh =
    (((uint32_t)(now - can_steering_override_last_tick) <= CAN_COMMAND_TIMEOUT_MS) &&
     ((uint32_t)(now - can_actuator_enable_last_tick) <= CAN_COMMAND_TIMEOUT_MS) &&
     ((uint32_t)(now - can_actuator_target_last_tick) <= CAN_COMMAND_TIMEOUT_MS)) ? 1U : 0U;

  if (command_is_fresh == 0U)
  {
    can_steering_override_enable = 0U;
  }

  if ((command_is_fresh != 0U) && (can_steering_override_enable != 0U))
  {
    actuator_target_position = (int32_t)can_actuator_target_command;
    requested_actuator_enable = can_actuator_enable_command;
  }
  else
  {
    actuator_target_position = actuator_local_target_position;
    requested_actuator_enable = actuator_local_enable;
  }

  if (requested_actuator_enable != actuator_output_enable)
  {
    Actuator_SetEnabled(requested_actuator_enable);
  }

  command_is_fresh =
    (((uint32_t)(now - can_headlamp_override_last_tick) <= CAN_COMMAND_TIMEOUT_MS) &&
     ((uint32_t)(now - can_headlamp_command_last_tick) <= CAN_COMMAND_TIMEOUT_MS)) ? 1U : 0U;

  if (command_is_fresh == 0U)
  {
    can_headlamp_override_enable = 0U;
  }

  if ((command_is_fresh != 0U) && (can_headlamp_override_enable != 0U))
  {
    requested_headlamp_state = can_headlamp_command;
  }
  else
  {
    /* No local headlamp switch is assigned; PE10 defaults safely to OFF. */
    requested_headlamp_state = 0U;
  }

  headlamp_output_state = (requested_headlamp_state != 0U) ? 1U : 0U;
  HAL_GPIO_WritePin(HEADLAMP_OUT_GPIO_Port,
                    HEADLAMP_OUT_Pin,
                    headlamp_output_state ? GPIO_PIN_SET : GPIO_PIN_RESET);
}

static void DHT11_SetPinOutput(void)
{
  GPIO_InitTypeDef gpio_init = {0};

  gpio_init.Pin = DHT11_DATA_Pin;
  gpio_init.Mode = GPIO_MODE_OUTPUT_OD;
  gpio_init.Pull = GPIO_NOPULL;
  gpio_init.Speed = GPIO_SPEED_FREQ_LOW;
  HAL_GPIO_Init(DHT11_DATA_GPIO_Port, &gpio_init);
}

static void DHT11_SetPinInput(void)
{
  GPIO_InitTypeDef gpio_init = {0};

  gpio_init.Pin = DHT11_DATA_Pin;
  gpio_init.Mode = GPIO_MODE_INPUT;
  gpio_init.Pull = GPIO_NOPULL;
  HAL_GPIO_Init(DHT11_DATA_GPIO_Port, &gpio_init);
}

static uint8_t DHT11_WaitWhile(GPIO_PinState state, uint32_t timeout_us)
{
  uint32_t start_cycle = DWT->CYCCNT;

  while (HAL_GPIO_ReadPin(DHT11_DATA_GPIO_Port, DHT11_DATA_Pin) == state)
  {
    if (DWT_ElapsedUs(start_cycle) >= timeout_us)
    {
      return 0U;
    }
  }

  return 1U;
}

static uint8_t DHT11_ReadSensor(void)
{
  uint8_t data[5] = {0U, 0U, 0U, 0U, 0U};
  uint8_t bit_index;
  uint8_t byte_index;
  uint32_t high_start_cycle;
  uint32_t high_time_us;
  uint8_t success = 0U;

  /* Keep DHT11 pulse measurements deterministic for about 20 ms. */
  HAL_NVIC_DisableIRQ(TIM6_DAC_IRQn);
  HAL_NVIC_DisableIRQ(CAN1_RX0_IRQn);
  HAL_NVIC_DisableIRQ(CAN1_SCE_IRQn);

  DHT11_SetPinOutput();
  HAL_GPIO_WritePin(DHT11_DATA_GPIO_Port, DHT11_DATA_Pin, GPIO_PIN_RESET);
  HAL_Delay(DHT11_START_LOW_MS);
  HAL_GPIO_WritePin(DHT11_DATA_GPIO_Port, DHT11_DATA_Pin, GPIO_PIN_SET);
  DWT_DelayUs(30U);
  DHT11_SetPinInput();

  /* Sensor response: 80 us LOW, 80 us HIGH. */
  if (DHT11_WaitWhile(GPIO_PIN_SET, DHT11_TIMEOUT_US) == 0U)
  {
    goto dht11_exit;
  }
  if (DHT11_WaitWhile(GPIO_PIN_RESET, DHT11_TIMEOUT_US) == 0U)
  {
    goto dht11_exit;
  }
  if (DHT11_WaitWhile(GPIO_PIN_SET, DHT11_TIMEOUT_US) == 0U)
  {
    goto dht11_exit;
  }

  for (bit_index = 0U; bit_index < 40U; bit_index++)
  {
    if (DHT11_WaitWhile(GPIO_PIN_RESET, DHT11_TIMEOUT_US) == 0U)
    {
      goto dht11_exit;
    }

    high_start_cycle = DWT->CYCCNT;
    if (DHT11_WaitWhile(GPIO_PIN_SET, DHT11_TIMEOUT_US) == 0U)
    {
      goto dht11_exit;
    }
    high_time_us = DWT_ElapsedUs(high_start_cycle);

    byte_index = bit_index / 8U;
    data[byte_index] <<= 1U;
    if (high_time_us > 50U)
    {
      data[byte_index] |= 1U;
    }
  }

  dht11_last_checksum = (uint8_t)(data[0] + data[1] + data[2] + data[3]);
  if (dht11_last_checksum != data[4])
  {
    goto dht11_exit;
  }

  dht11_humidity_x10 = (uint16_t)(((uint16_t)data[0] * 10U) + data[1]);
  dht11_temperature_x10 =
    (int16_t)(((int16_t)(data[2] & 0x7FU) * 10) + (int16_t)data[3]);

  if ((data[2] & 0x80U) != 0U)
  {
    dht11_temperature_x10 = (int16_t)(-dht11_temperature_x10);
  }

  success = 1U;

dht11_exit:
  DHT11_SetPinOutput();
  HAL_GPIO_WritePin(DHT11_DATA_GPIO_Port, DHT11_DATA_Pin, GPIO_PIN_SET);

  __HAL_TIM_CLEAR_FLAG(&htim6, TIM_FLAG_UPDATE);
  HAL_NVIC_ClearPendingIRQ(TIM6_DAC_IRQn);
  HAL_NVIC_EnableIRQ(CAN1_SCE_IRQn);
  HAL_NVIC_EnableIRQ(CAN1_RX0_IRQn);
  HAL_NVIC_EnableIRQ(TIM6_DAC_IRQn);

  if (success != 0U)
  {
    dht11_valid = 1U;
    dht11_ok_count++;
  }
  else
  {
    dht11_valid = 0U;
    dht11_error_count++;
  }

  return success;
}

static void CAN1_ApplicationStart(void)
{
  CAN_FilterTypeDef filter = {0};
  uint32_t notifications;

  /* 32-bit ID-mask zero accepts all CAN frames into FIFO0. */
  filter.FilterBank = 0U;
  filter.FilterMode = CAN_FILTERMODE_IDMASK;
  filter.FilterScale = CAN_FILTERSCALE_32BIT;
  filter.FilterIdHigh = 0U;
  filter.FilterIdLow = 0U;
  filter.FilterMaskIdHigh = 0U;
  filter.FilterMaskIdLow = 0U;
  filter.FilterFIFOAssignment = CAN_RX_FIFO0;
  filter.FilterActivation = ENABLE;
  filter.SlaveStartFilterBank = 14U;

  if (HAL_CAN_ConfigFilter(&hcan1, &filter) != HAL_OK)
  {
    can_start_error_step = 1U;
    can_last_error = HAL_CAN_GetError(&hcan1);
    return;
  }

  if (HAL_CAN_Start(&hcan1) != HAL_OK)
  {
    can_start_error_step = 2U;
    can_last_error = HAL_CAN_GetError(&hcan1);
    return;
  }

  notifications = CAN_IT_RX_FIFO0_MSG_PENDING |
                  CAN_IT_RX_FIFO0_OVERRUN |
                  CAN_IT_ERROR_WARNING |
                  CAN_IT_ERROR_PASSIVE |
                  CAN_IT_BUSOFF |
                  CAN_IT_LAST_ERROR_CODE |
                  CAN_IT_ERROR;

  if (HAL_CAN_ActivateNotification(&hcan1, notifications) != HAL_OK)
  {
    can_start_error_step = 3U;
    can_last_error = HAL_CAN_GetError(&hcan1);
    return;
  }

  can_started = 1U;
  can_start_error_step = 0U;
}

static HAL_StatusTypeDef CAN1_SendStandard(uint32_t identifier,
                                           const uint8_t data[8],
                                           uint8_t dlc)
{
  CAN_TxHeaderTypeDef header = {0};
  uint32_t mailbox = 0U;
  HAL_StatusTypeDef status;

  if ((can_started == 0U) || (dlc > 8U))
  {
    return HAL_ERROR;
  }

  can_tx_mailbox_free = HAL_CAN_GetTxMailboxesFreeLevel(&hcan1);
  if (can_tx_mailbox_free == 0U)
  {
    can_tx_busy_count++;
    can_last_error = HAL_CAN_GetError(&hcan1);
    return HAL_BUSY;
  }

  header.StdId = identifier & 0x7FFU;
  header.ExtId = 0U;
  header.IDE = CAN_ID_STD;
  header.RTR = CAN_RTR_DATA;
  header.DLC = dlc;
  header.TransmitGlobalTime = DISABLE;

  status = HAL_CAN_AddTxMessage(&hcan1, &header, (uint8_t *)data, &mailbox);
  if (status != HAL_OK)
  {
    can_tx_error_count++;
    can_last_error = HAL_CAN_GetError(&hcan1);
  }

  return status;
}

static void CAN1_SendPendingEcho(void)
{
  if (can_echo_pending == 0U)
  {
    return;
  }

  if (CAN1_SendStandard(CAN_ID_F407_ECHO, can_echo_data, 8U) == HAL_OK)
  {
    can_echo_pending = 0U;
    can_echo_tx_count++;
  }
}

static HAL_StatusTypeDef CAN1_SendU8Signal(uint32_t identifier, uint8_t value)
{
  uint8_t data[8] = {0U};
  data[0] = value;
  return CAN1_SendStandard(identifier, data, 1U);
}

static HAL_StatusTypeDef CAN1_SendU16Signal(uint32_t identifier, uint16_t value)
{
  uint8_t data[8] = {0U};
  data[0] = (uint8_t)(value & 0xFFU);
  data[1] = (uint8_t)((value >> 8U) & 0xFFU);
  return CAN1_SendStandard(identifier, data, 2U);
}

static HAL_StatusTypeDef CAN1_SendI16Signal(uint32_t identifier, int16_t value)
{
  return CAN1_SendU16Signal(identifier, (uint16_t)value);
}

static void CAN1_SignalSchedulerInit(uint32_t now)
{
  can_steering_last_tx_tick = now - CAN_PERIOD_ADC_MS;
  can_brake_last_tx_tick = now - CAN_PERIOD_ADC_MS;
  can_accel_last_tx_tick = now - CAN_PERIOD_ADC_MS;
  can_turn_left_last_tx_tick = now - CAN_PERIOD_DIGITAL_STATUS_MS;
  can_turn_right_last_tx_tick = now - CAN_PERIOD_DIGITAL_STATUS_MS;
  can_turn_switch_last_tx_tick = now - CAN_PERIOD_DIGITAL_STATUS_MS;
  can_headlamp_output_last_tx_tick = now - CAN_PERIOD_DIGITAL_STATUS_MS;
  can_temperature_last_tx_tick = now - CAN_PERIOD_ENVIRONMENT_MS;
  can_humidity_last_tx_tick = now - CAN_PERIOD_ENVIRONMENT_MS;
  can_dht11_valid_last_tx_tick = now - CAN_PERIOD_ENVIRONMENT_MS;
  can_actuator_position_last_tx_tick = now - CAN_PERIOD_ACTUATOR_POSITION_MS;
  can_actuator_enable_last_tx_tick = now - CAN_PERIOD_DIGITAL_STATUS_MS;
  can_steering_override_last_tx_tick = now - CAN_PERIOD_DIGITAL_STATUS_MS;
  can_headlamp_override_last_tx_tick = now - CAN_PERIOD_DIGITAL_STATUS_MS;
  can_busoff_signal_last_tx_tick = now - CAN_PERIOD_CAN_DIAGNOSTIC_SIGNAL_MS;
  can_signal_scheduler_index = 0U;
}

static void CAN1_SendNextSignal(uint32_t now)
{
  uint8_t attempt;
  uint16_t actuator_position;
  HAL_StatusTypeDef status;

  for (attempt = 0U; attempt < 15U; attempt++)
  {
    status = HAL_ERROR;

    switch (can_signal_scheduler_index)
    {
      case 0U:
        if ((uint32_t)(now - can_steering_last_tx_tick) >= CAN_PERIOD_ADC_MS)
        {
          status = CAN1_SendU16Signal(CAN_ID_F407_STEERING_ADC, steering_adc_filtered);
          if (status == HAL_OK)
          {
            can_steering_last_tx_tick = now;
            can_steering_tx_count++;
          }
        }
        break;

      case 1U:
        if ((uint32_t)(now - can_brake_last_tx_tick) >= CAN_PERIOD_ADC_MS)
        {
          status = CAN1_SendU16Signal(CAN_ID_F407_BRAKE_ADC, brake_adc_raw);
          if (status == HAL_OK)
          {
            can_brake_last_tx_tick = now;
            can_brake_tx_count++;
          }
        }
        break;

      case 2U:
        if ((uint32_t)(now - can_accel_last_tx_tick) >= CAN_PERIOD_ADC_MS)
        {
          status = CAN1_SendU16Signal(CAN_ID_F407_ACCEL_ADC, accel_adc_raw);
          if (status == HAL_OK)
          {
            can_accel_last_tx_tick = now;
            can_accel_tx_count++;
          }
        }
        break;

      case 3U:
        if ((uint32_t)(now - can_turn_left_last_tx_tick) >= CAN_PERIOD_DIGITAL_STATUS_MS)
        {
          status = CAN1_SendU8Signal(CAN_ID_F407_TURN_LEFT_OUTPUT, turn_left_output_state);
          if (status == HAL_OK)
          {
            can_turn_left_last_tx_tick = now;
            can_turn_left_tx_count++;
          }
        }
        break;

      case 4U:
        if ((uint32_t)(now - can_turn_right_last_tx_tick) >= CAN_PERIOD_DIGITAL_STATUS_MS)
        {
          status = CAN1_SendU8Signal(CAN_ID_F407_TURN_RIGHT_OUTPUT, turn_right_output_state);
          if (status == HAL_OK)
          {
            can_turn_right_last_tx_tick = now;
            can_turn_right_tx_count++;
          }
        }
        break;

      case 5U:
        if ((uint32_t)(now - can_turn_switch_last_tx_tick) >= CAN_PERIOD_DIGITAL_STATUS_MS)
        {
          status = CAN1_SendU8Signal(CAN_ID_F407_TURN_SWITCH_PRESSED, turn_switch_pressed);
          if (status == HAL_OK)
          {
            can_turn_switch_last_tx_tick = now;
            can_turn_switch_tx_count++;
          }
        }
        break;

      case 6U:
        if ((uint32_t)(now - can_headlamp_output_last_tx_tick) >= CAN_PERIOD_DIGITAL_STATUS_MS)
        {
          status = CAN1_SendU8Signal(CAN_ID_F407_HEADLAMP_OUTPUT, headlamp_output_state);
          if (status == HAL_OK)
          {
            can_headlamp_output_last_tx_tick = now;
            can_headlamp_output_tx_count++;
          }
        }
        break;

      case 7U:
        if ((uint32_t)(now - can_temperature_last_tx_tick) >= CAN_PERIOD_ENVIRONMENT_MS)
        {
          status = CAN1_SendI16Signal(CAN_ID_F407_TEMPERATURE_X10, dht11_temperature_x10);
          if (status == HAL_OK)
          {
            can_temperature_last_tx_tick = now;
            can_temperature_tx_count++;
          }
        }
        break;

      case 8U:
        if ((uint32_t)(now - can_humidity_last_tx_tick) >= CAN_PERIOD_ENVIRONMENT_MS)
        {
          status = CAN1_SendU16Signal(CAN_ID_F407_HUMIDITY_X10, dht11_humidity_x10);
          if (status == HAL_OK)
          {
            can_humidity_last_tx_tick = now;
            can_humidity_tx_count++;
          }
        }
        break;

      case 9U:
        if ((uint32_t)(now - can_dht11_valid_last_tx_tick) >= CAN_PERIOD_ENVIRONMENT_MS)
        {
          status = CAN1_SendU8Signal(CAN_ID_F407_DHT11_VALID, dht11_valid);
          if (status == HAL_OK)
          {
            can_dht11_valid_last_tx_tick = now;
            can_dht11_valid_tx_count++;
          }
        }
        break;

      case 10U:
        if ((uint32_t)(now - can_actuator_position_last_tx_tick) >= CAN_PERIOD_ACTUATOR_POSITION_MS)
        {
          if (actuator_absolute_position < 0)
          {
            actuator_position = 0U;
          }
          else if (actuator_absolute_position > ACTUATOR_MAX_STEP)
          {
            actuator_position = (uint16_t)ACTUATOR_MAX_STEP;
          }
          else
          {
            actuator_position = (uint16_t)actuator_absolute_position;
          }

          status = CAN1_SendU16Signal(CAN_ID_F407_ACTUATOR_POSITION, actuator_position);
          if (status == HAL_OK)
          {
            can_actuator_position_last_tx_tick = now;
            can_actuator_position_tx_count++;
          }
        }
        break;

      case 11U:
        if ((uint32_t)(now - can_actuator_enable_last_tx_tick) >= CAN_PERIOD_DIGITAL_STATUS_MS)
        {
          status = CAN1_SendU8Signal(CAN_ID_F407_ACTUATOR_ENABLE, actuator_output_enable);
          if (status == HAL_OK)
          {
            can_actuator_enable_last_tx_tick = now;
            can_actuator_enable_tx_count++;
          }
        }
        break;

      case 12U:
        if ((uint32_t)(now - can_steering_override_last_tx_tick) >= CAN_PERIOD_DIGITAL_STATUS_MS)
        {
          status = CAN1_SendU8Signal(CAN_ID_F407_STEERING_OVERRIDE_ACTIVE,
                                     can_steering_override_enable);
          if (status == HAL_OK)
          {
            can_steering_override_last_tx_tick = now;
            can_steering_override_tx_count++;
          }
        }
        break;

      case 13U:
        if ((uint32_t)(now - can_headlamp_override_last_tx_tick) >= CAN_PERIOD_DIGITAL_STATUS_MS)
        {
          status = CAN1_SendU8Signal(CAN_ID_F407_HEADLAMP_OVERRIDE_ACTIVE,
                                     can_headlamp_override_enable);
          if (status == HAL_OK)
          {
            can_headlamp_override_last_tx_tick = now;
            can_headlamp_override_tx_count++;
          }
        }
        break;

      default:
        if ((uint32_t)(now - can_busoff_signal_last_tx_tick) >= CAN_PERIOD_CAN_DIAGNOSTIC_SIGNAL_MS)
        {
          status = CAN1_SendU8Signal(CAN_ID_F407_CAN_BUSOFF, can_busoff_state);
          if (status == HAL_OK)
          {
            can_busoff_signal_last_tx_tick = now;
            can_busoff_signal_tx_count++;
          }
        }
        break;
    }

    can_signal_scheduler_index++;
    if (can_signal_scheduler_index >= 15U)
    {
      can_signal_scheduler_index = 0U;
    }

    if ((status == HAL_OK) || (status == HAL_BUSY))
    {
      return;
    }
  }
}

static void CAN1_UpdateDiagnostics(void)
{
  can_tx_mailbox_free = HAL_CAN_GetTxMailboxesFreeLevel(&hcan1);
  can_last_error = HAL_CAN_GetError(&hcan1);
  can_esr_register = hcan1.Instance->ESR;

  can_last_error_code = (uint8_t)((can_esr_register >> 4U) & 0x07U);
  can_tx_error_counter = (uint8_t)((can_esr_register >> 16U) & 0xFFU);
  can_rx_error_counter = (uint8_t)((can_esr_register >> 24U) & 0xFFU);
  can_busoff_state = ((can_esr_register & CAN_ESR_BOFF) != 0U) ? 1U : 0U;
}

void HAL_TIM_PeriodElapsedCallback(TIM_HandleTypeDef *htim)
{
  int32_t difference;
  int32_t direction;
  int32_t next_position;

  if (htim->Instance != TIM6)
  {
    return;
  }

  if (actuator_output_enable == 0U)
  {
    return;
  }

  difference = actuator_target_position - actuator_absolute_position;
  if ((difference >= -ACTUATOR_DEADBAND_STEP) &&
      (difference <= ACTUATOR_DEADBAND_STEP))
  {
    return;
  }

  direction = (difference > 0) ? 1 : -1;
  next_position = actuator_absolute_position + direction;

  if ((next_position < 0) || (next_position > ACTUATOR_MAX_STEP))
  {
    actuator_limit_count++;
    return;
  }

  actuator_absolute_position = next_position;

  if (direction > 0)
  {
    actuator_step_index++;
    if (actuator_step_index >= ACTUATOR_STEP_SEQUENCE_COUNT)
    {
      actuator_step_index = 0U;
    }
  }
  else
  {
    if (actuator_step_index == 0U)
    {
      actuator_step_index = ACTUATOR_STEP_SEQUENCE_COUNT - 1U;
    }
    else
    {
      actuator_step_index--;
    }
  }

  Actuator_WriteStep(actuator_step_index);
  actuator_step_count++;
}

void HAL_CAN_RxFifo0MsgPendingCallback(CAN_HandleTypeDef *hcan)
{
  CAN_RxHeaderTypeDef rx_header;
  uint8_t rx_data[8];
  uint8_t index;
  uint32_t now;

  if (hcan->Instance != CAN1)
  {
    return;
  }

  while (HAL_CAN_GetRxFifoFillLevel(hcan, CAN_RX_FIFO0) > 0U)
  {
    rx_header = (CAN_RxHeaderTypeDef){0};
    for (index = 0U; index < 8U; index++)
    {
      rx_data[index] = 0U;
    }

    if (HAL_CAN_GetRxMessage(hcan, CAN_RX_FIFO0, &rx_header, rx_data) != HAL_OK)
    {
      can_last_error = HAL_CAN_GetError(hcan);
      can_error_callback_count++;
      return;
    }

    can_rx_count++;
    can_last_rx_dlc = (uint8_t)rx_header.DLC;
    for (index = 0U; index < 8U; index++)
    {
      can_last_rx_data[index] = rx_data[index];
    }

    if (rx_header.IDE == CAN_ID_STD)
    {
      can_last_rx_id = rx_header.StdId;
    }
    else
    {
      can_last_rx_id = rx_header.ExtId;
      can_unknown_rx_count++;
      continue;
    }

    if ((rx_header.StdId == CAN_ID_H723_PING) &&
        (rx_header.RTR == CAN_RTR_DATA) &&
        (rx_header.DLC == 8U) &&
        (rx_data[0] == 0xA5U) &&
        (rx_data[1] == 0x5AU) &&
        (rx_data[2] == 0x02U) &&
        (rx_data[3] == 0x01U))
    {
      can_echo_data[0] = 0x5AU;
      can_echo_data[1] = 0xA5U;
      can_echo_data[2] = 0x02U;
      can_echo_data[3] = 0x02U;
      can_echo_data[4] = rx_data[4];
      can_echo_data[5] = rx_data[5];
      can_echo_data[6] = rx_data[6];
      can_echo_data[7] = rx_data[7];
      can_echo_pending = 1U;
      can_ping_rx_count++;
      continue;
    }

    now = HAL_GetTick();

    switch (rx_header.StdId)
    {
      case CAN_ID_H723_STEERING_OVERRIDE:
        if ((rx_header.RTR == CAN_RTR_DATA) && (rx_header.DLC == 1U))
        {
          can_steering_override_enable = (rx_data[0] != 0U) ? 1U : 0U;
          can_steering_override_last_tick = now;
          can_steering_override_rx_count++;
          can_command_rx_count++;
        }
        else
        {
          can_unknown_rx_count++;
        }
        break;

      case CAN_ID_H723_ACTUATOR_ENABLE:
        if ((rx_header.RTR == CAN_RTR_DATA) && (rx_header.DLC == 1U))
        {
          can_actuator_enable_command = (rx_data[0] != 0U) ? 1U : 0U;
          can_actuator_enable_last_tick = now;
          can_actuator_enable_rx_count++;
          can_command_rx_count++;
        }
        else
        {
          can_unknown_rx_count++;
        }
        break;

      case CAN_ID_H723_ACTUATOR_TARGET:
        if ((rx_header.RTR == CAN_RTR_DATA) && (rx_header.DLC == 2U))
        {
          can_actuator_target_command =
            (uint16_t)((uint16_t)rx_data[0] | ((uint16_t)rx_data[1] << 8U));
          if (can_actuator_target_command > ACTUATOR_MAX_STEP)
          {
            can_actuator_target_command = ACTUATOR_MAX_STEP;
          }
          can_actuator_target_last_tick = now;
          can_actuator_target_rx_count++;
          can_command_rx_count++;
        }
        else
        {
          can_unknown_rx_count++;
        }
        break;

      case CAN_ID_H723_HEADLAMP_OVERRIDE:
        if ((rx_header.RTR == CAN_RTR_DATA) && (rx_header.DLC == 1U))
        {
          can_headlamp_override_enable = (rx_data[0] != 0U) ? 1U : 0U;
          can_headlamp_override_last_tick = now;
          can_headlamp_override_rx_count++;
          can_command_rx_count++;
        }
        else
        {
          can_unknown_rx_count++;
        }
        break;

      case CAN_ID_H723_HEADLAMP_COMMAND:
        if ((rx_header.RTR == CAN_RTR_DATA) && (rx_header.DLC == 1U))
        {
          can_headlamp_command = (rx_data[0] != 0U) ? 1U : 0U;
          can_headlamp_command_last_tick = now;
          can_headlamp_command_rx_count++;
          can_command_rx_count++;
        }
        else
        {
          can_unknown_rx_count++;
        }
        break;

      case CAN_ID_H723_TURN_OVERRIDE:
        if ((rx_header.RTR == CAN_RTR_DATA) && (rx_header.DLC == 1U))
        {
          can_turn_override_enable = (rx_data[0] != 0U) ? 1U : 0U;
          can_turn_override_last_tick = now;
          can_turn_override_rx_count++;
          can_command_rx_count++;
        }
        else
        {
          can_unknown_rx_count++;
        }
        break;

      case CAN_ID_H723_TURN_MODE:
        if ((rx_header.RTR == CAN_RTR_DATA) && (rx_header.DLC == 1U) && (rx_data[0] <= 2U))
        {
          can_turn_mode_command = rx_data[0];
          can_turn_mode_last_tick = now;
          can_turn_mode_rx_count++;
          can_command_rx_count++;
        }
        else
        {
          can_unknown_rx_count++;
        }
        break;

      default:
        can_unknown_rx_count++;
        break;
    }
  }
}

void HAL_CAN_ErrorCallback(CAN_HandleTypeDef *hcan)
{
  uint32_t error;

  if (hcan->Instance != CAN1)
  {
    return;
  }

  error = HAL_CAN_GetError(hcan);
  can_last_error = error;
  can_error_callback_count++;

  if ((error & HAL_CAN_ERROR_BOF) != 0U)
  {
    can_busoff_count++;
  }
}

void HAL_ADC_ErrorCallback(ADC_HandleTypeDef *hadc)
{
  if (hadc->Instance == ADC1)
  {
    adc_dma_error_count++;
  }
}
/* USER CODE END 0 */

int main(void)
{

  /* USER CODE BEGIN 1 */
  uint32_t now;
  uint32_t last_control_tick = 0U;
  uint32_t last_can_diagnostic_tick = 0U;
  uint32_t last_dht11_tick = 0U;
  /* USER CODE END 1 */

  /* MCU Configuration--------------------------------------------------------*/

  /* Reset of all peripherals, Initializes the Flash interface and the Systick. */
  HAL_Init();

  /* Configure the system clock */
  SystemClock_Config();

  /* USER CODE BEGIN SysInit */
  DWT_DelayInit();
  /* USER CODE END SysInit */

  /* Initialize all configured peripherals */
  MX_GPIO_Init();
  MX_DMA_Init();
  MX_ADC1_Init();
  MX_CAN1_Init();
  MX_I2C1_Init();
  MX_I2S3_Init();
  MX_SPI1_Init();
  MX_USB_HOST_Init();
  MX_TIM6_Init();
  /* USER CODE BEGIN 2 */
  now = HAL_GetTick();
  Switch_Init(&turn_switch_input, now);
  turn_switch_previous_pressed = turn_switch_input.stable_active;

  Actuator_SetEnabled(0U);

  if (HAL_ADC_Start_DMA(&hadc1,
                        (uint32_t *)adc_dma_values,
                        ADC_VALUE_COUNT) != HAL_OK)
  {
    Error_Handler();
  }

  /* ADC values are read continuously; half/full transfer callbacks are not needed. */
  __HAL_DMA_DISABLE_IT(hadc1.DMA_Handle, DMA_IT_HT);
  __HAL_DMA_DISABLE_IT(hadc1.DMA_Handle, DMA_IT_TC);

  CAN1_ApplicationStart();

  if (HAL_TIM_Base_Start_IT(&htim6) != HAL_OK)
  {
    Error_Handler();
  }

  HAL_Delay(20U);
  Application_UpdateInputsAndOutputs(HAL_GetTick());

  /* Treat the startup steering input as the synchronized initial position. */
  actuator_absolute_position = actuator_local_target_position;
  actuator_target_position = actuator_local_target_position;
  actuator_step_index = 0U;
  Actuator_WriteStep(actuator_step_index);
  Actuator_SetEnabled(actuator_local_enable);

  now = HAL_GetTick();
  last_control_tick = now;
  CAN1_SignalSchedulerInit(now);
  last_can_diagnostic_tick = now;
  last_dht11_tick = now - DHT11_READ_PERIOD_MS + 1000U;
  /* USER CODE END 2 */

  /* Infinite loop */
  /* USER CODE BEGIN WHILE */
  while (1)
  {
    now = HAL_GetTick();

    CAN1_SendPendingEcho();

    if ((uint32_t)(now - last_control_tick) >= CONTROL_UPDATE_PERIOD_MS)
    {
      last_control_tick = now;
      Application_UpdateInputsAndOutputs(now);
    }

    CAN1_SendNextSignal(now);

    if ((uint32_t)(now - last_can_diagnostic_tick) >= CAN_DIAGNOSTIC_PERIOD_MS)
    {
      last_can_diagnostic_tick = now;
      CAN1_UpdateDiagnostics();
    }

    if ((uint32_t)(now - last_dht11_tick) >= DHT11_READ_PERIOD_MS)
    {
      last_dht11_tick = now;
      (void)DHT11_ReadSensor();
    }

    /* USER CODE END WHILE */
    MX_USB_HOST_Process();

  }
}

void SystemClock_Config(void)
{
  RCC_OscInitTypeDef RCC_OscInitStruct = {0};
  RCC_ClkInitTypeDef RCC_ClkInitStruct = {0};

  /** Configure the main internal regulator output voltage
  */
  __HAL_RCC_PWR_CLK_ENABLE();
  __HAL_PWR_VOLTAGESCALING_CONFIG(PWR_REGULATOR_VOLTAGE_SCALE1);

  /** Initializes the RCC Oscillators according to the specified parameters
  * in the RCC_OscInitTypeDef structure.
  */
  RCC_OscInitStruct.OscillatorType = RCC_OSCILLATORTYPE_HSE;
  RCC_OscInitStruct.HSEState = RCC_HSE_ON;
  RCC_OscInitStruct.PLL.PLLState = RCC_PLL_ON;
  RCC_OscInitStruct.PLL.PLLSource = RCC_PLLSOURCE_HSE;
  RCC_OscInitStruct.PLL.PLLM = 8;
  RCC_OscInitStruct.PLL.PLLN = 336;
  RCC_OscInitStruct.PLL.PLLP = RCC_PLLP_DIV2;
  RCC_OscInitStruct.PLL.PLLQ = 7;
  if (HAL_RCC_OscConfig(&RCC_OscInitStruct) != HAL_OK)
  {
    Error_Handler();
  }

  /** Initializes the CPU, AHB and APB buses clocks
  */
  RCC_ClkInitStruct.ClockType = RCC_CLOCKTYPE_HCLK|RCC_CLOCKTYPE_SYSCLK
                              |RCC_CLOCKTYPE_PCLK1|RCC_CLOCKTYPE_PCLK2;
  RCC_ClkInitStruct.SYSCLKSource = RCC_SYSCLKSOURCE_PLLCLK;
  RCC_ClkInitStruct.AHBCLKDivider = RCC_SYSCLK_DIV1;
  RCC_ClkInitStruct.APB1CLKDivider = RCC_HCLK_DIV4;
  RCC_ClkInitStruct.APB2CLKDivider = RCC_HCLK_DIV2;

  if (HAL_RCC_ClockConfig(&RCC_ClkInitStruct, FLASH_LATENCY_5) != HAL_OK)
  {
    Error_Handler();
  }
}

void Error_Handler(void)
{
  /* USER CODE BEGIN Error_Handler_Debug */
  __disable_irq();
  Actuator_SetEnabled(0U);
  HAL_GPIO_WritePin(TURN_LEFT_LED_GPIO_Port, TURN_LEFT_LED_Pin, GPIO_PIN_RESET);
  HAL_GPIO_WritePin(TURN_RIGHT_LED_GPIO_Port, TURN_RIGHT_LED_Pin, GPIO_PIN_RESET);
  HAL_GPIO_WritePin(HEADLAMP_OUT_GPIO_Port, HEADLAMP_OUT_Pin, GPIO_PIN_RESET);
  while (1)
  {
  }
  /* USER CODE END Error_Handler_Debug */
}
#ifdef USE_FULL_ASSERT
/**
  * @brief  Reports the name of the source file and the source line number
  *         where the assert_param error has occurred.
  * @param  file: pointer to the source file name
  * @param  line: assert_param error line source number
  * @retval None
  */
void assert_failed(uint8_t *file, uint32_t line)
{
  /* USER CODE BEGIN 6 */
  (void)file;
  (void)line;
  /* USER CODE END 6 */
}
#endif /* USE_FULL_ASSERT */
